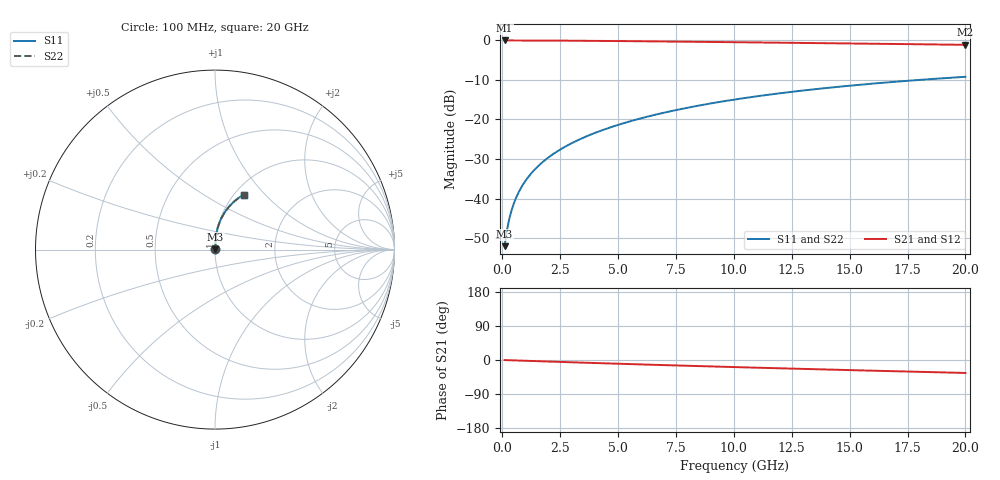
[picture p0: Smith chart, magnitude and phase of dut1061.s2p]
! Touchstone file exported from HFSS 2024.1.0
!  File:  C:/UserFiles/LocalFiles/RDL_TSV_Batchsim/temp_RDL_bottom_1061_1780052401.aedt
!  Generated:  07:02:34 PM May 29, 2026
!  Design:  RDL_bottom
!  Project:  temp_RDL_bottom_1061_1780052401
!  Setup:  Setup1
!  Solution:  Sweep
! Variables:
!  dtsv = 10.80580581um
!  hbump = 3um
!  htsv = 88.21um
!  ldown = 439.22um
!  lrdl = 100um
!  p = 40
!  p1 = 59.81um
!  rhole = 1um
!  t = 450um
!  tdown = 4.32um
!  trdl = 3.915915916um
!  wdown = 22.63um
!  wrdl = 20um
# GHz S MA R 50.000000
! Terminal data exported
! Port[1] = RDL1_T1
! Port[2] = RDL1_T2
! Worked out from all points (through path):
!   200 points, 100 MHz to 20 GHz, reference 50 ohm
!   highest |S21| = -0.02 dB at 100 MHz (marker M1); lowest = -1.1 dB at 20 GHz (marker M2)
!   group delay of S21, straight-line fit = 4.7 ps
!   lowest |S11| = -52.0 dB at 100 MHz (marker M3), VSWR 1.01, Z = 50.2 + j0.178 ohm
!   |S11| at or under -10 dB: start of sweep to 18 GHz
!   |S22| runs from -52.0 to -9.2 dB; largest |S21 - S12| = 3.1e-15
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0.1  0.002502 45.1  0.9982 -0.2  0.9982 -0.2  0.002502 45.1
! Gamma 0 0 0 0
! Port Impedance 50 0 50 0
0.2  0.003957 62.1  0.9981 -0.4  0.9981 -0.4  0.003957 62.1
0.3  0.005526 69.3  0.998 -0.6  0.998 -0.6  0.005526 69.3
0.4  0.007111 73.4  0.9979 -0.8  0.9979 -0.8  0.007111 73.4
0.5  0.0087 76.1  0.9977 -1.0  0.9977 -1.0  0.0087 76.1
0.7  0.0119 79.4  0.9975 -1.4  0.9975 -1.4  0.0119 79.4
0.8  0.01351 80.5  0.9973 -1.6  0.9973 -1.6  0.01351 80.5
1  0.01675 82.1  0.997 -2.1  0.997 -2.1  0.01675 82.1
1.2  0.02001 83.2  0.9967 -2.5  0.9967 -2.5  0.02001 83.2
1.4  0.02329 84.0  0.9963 -2.9  0.9963 -2.9  0.02329 84.0
1.7  0.02825 84.7  0.9955 -3.5  0.9955 -3.5  0.02825 84.7
2  0.03325 85.3  0.9947 -4.1  0.9947 -4.1  0.03325 85.2
2.7  0.04506 85.8  0.9923 -5.5  0.9923 -5.5  0.04506 85.8
3.5  0.05884 85.9  0.9889 -7.0  0.9889 -7.0  0.05883 85.9
4.2  0.07113 85.6  0.9854 -8.4  0.9854 -8.4  0.07113 85.6
5  0.08544 85.1  0.9811 -9.9  0.9811 -9.9  0.08543 85.0
6.8  0.1184 83.2  0.9703 -13.2  0.9703 -13.2  0.1184 83.2
8.4  0.1483 81.0  0.96 -16.0  0.96 -16.0  0.1483 81.0
10.1  0.18 78.4  0.9487 -18.8  0.9487 -18.8  0.1799 78.4
13.4  0.2397 73.0  0.9261 -24.2  0.9261 -24.2  0.2397 73.0
16.7  0.2956 67.5  0.9028 -29.3  0.9028 -29.3  0.2955 67.5
20  0.3466 62.3  0.879 -34.2  0.879 -34.2  0.3465 62.3
